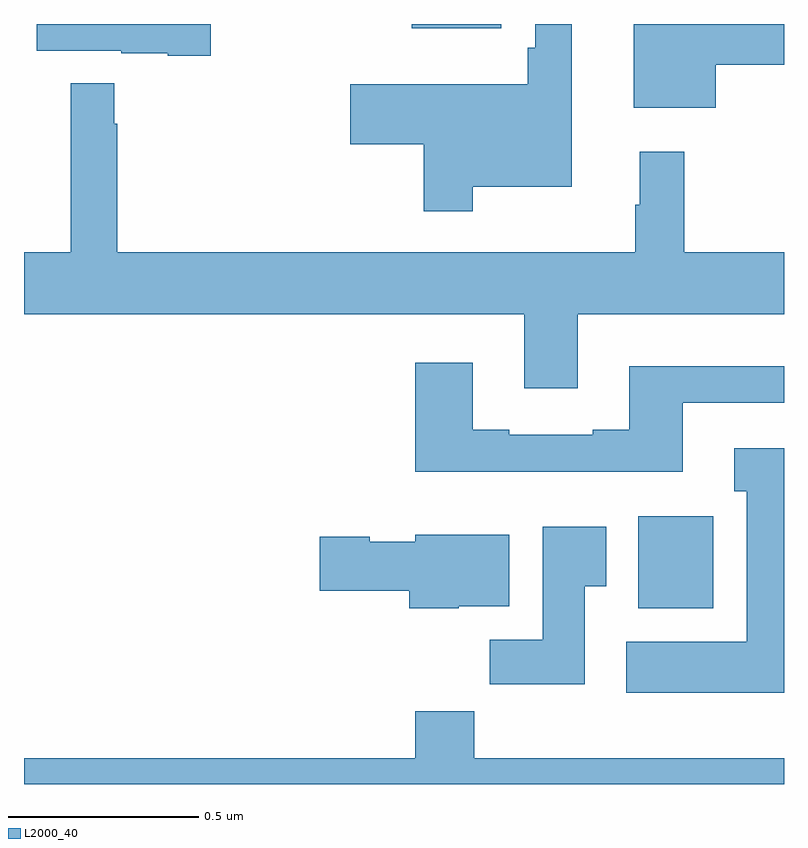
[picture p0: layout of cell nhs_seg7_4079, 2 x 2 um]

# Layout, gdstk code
import gdstk
lib = gdstk.Library(unit=1e-6, precision=1e-09)
def R(c, l, rs):  # rectangles x0, y0, x1, y1
    for r in rs: c.add(gdstk.rectangle(r[:2], r[2:], *l))
def P(c, l, *ps):  # polygons
    for p in ps: c.add(gdstk.Polygon(p, *l))
L2000_40 = (2000, 40)

nhs_seg7_4079 = lib.new_cell('nhs_seg7_4079')
R(nhs_seg7_4079, L2000_40, [(168.617,1046.462,168.814,1046.704), (168.02,1047.989,168.256,1048)])
P(nhs_seg7_4079, L2000_40, [(167.491,1048),(167.033,1048),(167.033,1047.929),(167.256,1047.929),(167.256,1047.923),(167.378,1047.923),(167.378,1047.917),(167.491,1047.917)],
  [(168.82,1047.893),(169,1047.893),(169,1048),(168.605,1048),(168.605,1047.779),(168.82,1047.779)],
  [(168.181,1047.572),(168.442,1047.572),(168.442,1048),(168.345,1048),(168.345,1047.937),(168.325,1047.937),(168.325,1047.841),(167.859,1047.841),(167.859,1047.683),(168.052,1047.683),(168.052,1047.507),(168.181,1047.507)],
  [(168.457,1047.236),(169,1047.236),(169,1047.4),(168.737,1047.4),(168.737,1047.664),(168.62,1047.664),(168.62,1047.524),(168.609,1047.524),(168.609,1047.4),(167.245,1047.4),(167.245,1047.737),(167.237,1047.737),(167.237,1047.844),(167.123,1047.844),(167.123,1047.4),(167,1047.4),(167,1047.236),(168.317,1047.236),(168.317,1047.042),(168.457,1047.042)],
  [(168.733,1047.003),(169,1047.003),(169,1047.1),(168.593,1047.1),(168.593,1046.932),(168.497,1046.932),(168.497,1046.919),(168.277,1046.919),(168.277,1046.932),(168.181,1046.932),(168.181,1047.109),(168.029,1047.109),(168.029,1046.822),(168.733,1046.822)],
  [(169,1046.884),(168.869,1046.884),(168.869,1046.771),(168.902,1046.771),(168.902,1046.374),(168.585,1046.374),(168.585,1046.24),(169,1046.24)],
  [(168.475,1046.521),(168.532,1046.521),(168.532,1046.677),(168.365,1046.677),(168.365,1046.38),(168.226,1046.38),(168.226,1046.262),(168.475,1046.262)],
  [(168.144,1046.468),(168.277,1046.468),(168.277,1046.656),(168.03,1046.656),(168.03,1046.638),(167.91,1046.638),(167.91,1046.651),(167.778,1046.651),(167.778,1046.509),(168.014,1046.509),(168.014,1046.462),(168.144,1046.462)],
  [(169,1046.068),(168.185,1046.068),(168.185,1046.192),(168.029,1046.192),(168.029,1046.068),(167,1046.068),(167,1046),(169,1046)])

lib.write_gds('nhs_seg7_4079.gds')
